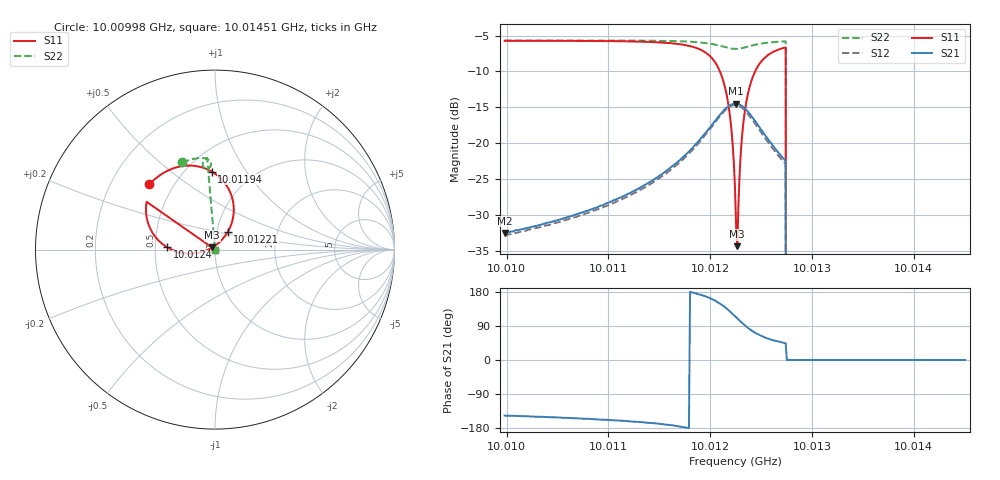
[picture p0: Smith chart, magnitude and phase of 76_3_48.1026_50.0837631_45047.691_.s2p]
#  HZ  S  RI  R  50.00
! Rohde & Schwarz Vector Network Analyzer
! Rohde-Schwarz,ZNB20-2Port,1311601062101988,3.16
! Created: UTC 12/23/2023, 3:42:17 AM
! freq[Hz]  re:S11  im:S11  re:S21  im:S21  re:S12  im:S12  re:S22  im:S22
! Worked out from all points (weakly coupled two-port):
!   401 points, 10.00998 GHz to 10.01451 GHz, reference 50 ohm
!   highest |S21| = -14.47 dB at 10.01225 GHz (marker M1); lowest = -32.5 dB at 10.00998 GHz (marker M2)
!   lowest |S11| = -34.3 dB at 10.01227 GHz (marker M3), VSWR 1.04, Z = 48.5 + j1.16 ohm
!   |S11| at or under -10 dB: 10.0121 GHz to 10.01244 GHz (346.5 kHz wide, 0.00346 % of centre); 10.01274 GHz to end of sweep
!   |S22| runs from - to -5.7 dB; largest |S21 - S12| = 0.0088
!   S11 on the Smith chart (normalised r, x): 10.00998 GHz: 0.37, +0.36; 10.01194 GHz: 0.66, +0.71; 10.01221 GHz: 1.13, +0.23; 10.0124 GHz: 0.58, +0.02; 10.01451 GHz: 1.00, +0.00
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1.000998e10  -0.3661 0.364  -0.0198 -0.013  -0.0184 -0.0135  -0.1826 0.4855
1.0010738e10  -0.3103 0.4118  -0.0296 -0.0141  -0.0279 -0.015  -0.1338 0.5017
1.0011497e10  -0.2029 0.4614  -0.0576 -0.0119  -0.0551 -0.0144  -0.0774 0.5107
1.0011938e10  -0.0185 0.4349  -0.1123 0.021  -0.1099 0.0143  -0.0339 0.4989
1.001204e10  0.0561 0.3687  -0.1302 0.0535  -0.1295 0.0453  -0.0244 0.4865
1.0012119e10  0.1007 0.2664  -0.1344 0.0954  -0.1357 0.0869  -0.0223 0.4718
1.0012176e10  0.0977 0.1644  -0.1219 0.1325  -0.1242 0.1251  -0.0272 0.4602
1.001221e10  0.0716 0.0994  -0.1047 0.1541  -0.1086 0.1463  -0.0335 0.4547
1.0012244e10  0.0251 0.0415  -0.0811 0.1706  -0.0856 0.1633  -0.0414 0.4519
1.0012255e10  0.00566 0.0256  -0.0723 0.1746  -0.0767 0.1677  -0.0444 0.4516
1.0012266e10  -0.015 0.0119  -0.0632 0.1774  -0.0674 0.1707  -0.0473 0.4518
1.0012277e10  -0.0374 0.000151  -0.0541 0.1794  -0.0581 0.1729  -0.0501 0.4522
1.00123e10  -0.0839 -0.016  -0.0356 0.1806  -0.0396 0.1744  -0.0554 0.454
1.0012323e10  -0.1307 -0.0223  -0.0174 0.1785  -0.0222 0.1724  -0.0601 0.4571
1.0012357e10  -0.1964 -0.016  0.00686 0.1699  0.00162 0.1642  -0.0653 0.4631
1.0012402e10  -0.2672 0.0134  0.0309 0.1525  0.0253 0.1472  -0.0685 0.4722
1.0012515e10  -0.3615 0.1185  0.0565 0.106  0.0506 0.103  -0.0649 0.4917
1.0012719e10  -0.3826 0.2557  0.0552 0.0558  0.0502 0.0552  -0.046 0.5093
1.0012775e10  0 0  0 0  0 0  0 0
1.0013002e10  0 0  0 0  0 0  0 0
1.001376e10  0 0  0 0  0 0  0 0
1.0014507e10  0 0  0 0  0 0  0 0
